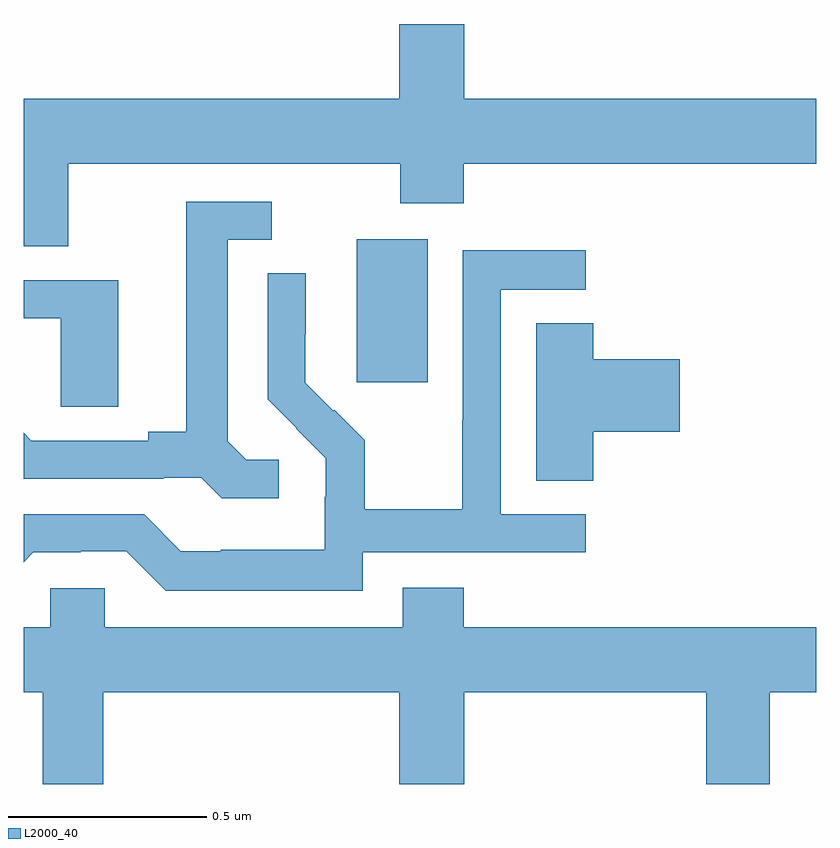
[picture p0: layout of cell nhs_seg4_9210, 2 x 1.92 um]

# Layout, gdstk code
import gdstk
lib = gdstk.Library(unit=1e-6, precision=1e-09)
def R(c, l, rs):  # rectangles x0, y0, x1, y1
    for r in rs: c.add(gdstk.rectangle(r[:2], r[2:], *l))
def P(c, l, *ps):  # polygons
    for p in ps: c.add(gdstk.Polygon(p, *l))
L2000_40 = (2000, 40)

nhs_seg4_9210 = lib.new_cell('nhs_seg4_9210')
R(nhs_seg4_9210, L2000_40, [(224.84,818.913,225.019,819.274)])
P(nhs_seg4_9210, L2000_40, [(224.113,819.464),(224.95,819.464),(224.95,819.365),(225.11,819.365),(225.11,819.464),(226,819.464),(226,819.628),(225.112,819.628),(225.112,819.817),(224.948,819.817),(224.948,819.628),(224,819.628),(224,819.256),(224.113,819.256)],
  [(224.644,818.718),(224.562,818.718),(224.515,818.765),(224.515,819.273),(224.626,819.273),(224.626,819.369),(224.411,819.369),(224.411,818.789),(224.315,818.789),(224.315,818.766),(224.02,818.766),(224,818.786),(224,818.67),(224.354,818.67),(224.354,818.673),(224.448,818.673),(224.5,818.621),(224.644,818.621)],
  [(224.856,818.484),(225.418,818.484),(225.418,818.58),(225.204,818.58),(225.204,819.147),(225.418,819.147),(225.418,819.246),(225.108,819.246),(225.108,818.816),(225.106,818.816),(225.106,818.593),(224.861,818.593),(224.861,818.767),(224.784,818.844),(224.781,818.841),(224.711,818.912),(224.711,819.034),(224.712,819.034),(224.712,819.188),(224.616,819.188),(224.616,818.87),(224.689,818.797),(224.688,818.796),(224.762,818.722),(224.762,818.625),(224.76,818.625),(224.76,818.491),(224.497,818.491),(224.497,818.487),(224.397,818.487),(224.304,818.58),(224,818.58),(224,818.459),(224.025,818.484),(224.144,818.484),(224.144,818.487),(224.259,818.487),(224.359,818.387),(224.856,818.387)],
  [(224.239,819.171),(224,819.171),(224,819.075),(224.094,819.075),(224.094,818.851),(224.239,818.851)],
  [(225.437,818.789),(225.655,818.789),(225.655,818.972),(225.437,818.972),(225.437,819.062),(225.293,819.062),(225.293,818.665),(225.437,818.665)],
  [(224.201,818.132),(224.948,818.132),(224.948,817.9),(225.112,817.9),(225.112,818.132),(225.722,818.132),(225.722,817.9),(225.882,817.9),(225.882,818.132),(226,818.132),(226,818.296),(225.11,818.296),(225.11,818.395),(224.957,818.395),(224.957,818.296),(224.205,818.296),(224.205,818.394),(224.067,818.394),(224.067,818.296),(224,818.296),(224,818.132),(224.048,818.132),(224.048,817.9),(224.201,817.9)])

lib.write_gds('nhs_seg4_9210.gds')
